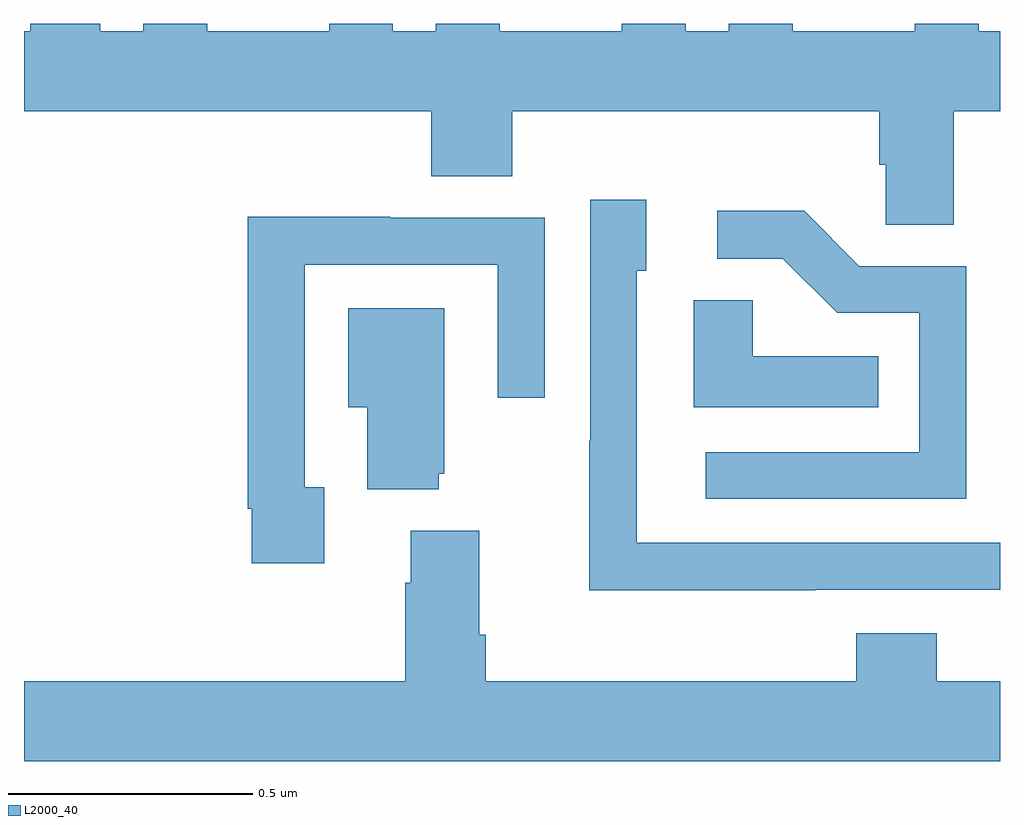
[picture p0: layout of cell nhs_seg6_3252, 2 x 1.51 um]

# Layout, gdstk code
import gdstk
lib = gdstk.Library(unit=1e-6, precision=1e-09)
def P(c, l, *ps):  # polygons
    for p in ps: c.add(gdstk.Polygon(p, *l))
L2000_40 = (2000, 40)

nhs_seg6_3252 = lib.new_cell('nhs_seg6_3252')
P(nhs_seg6_3252, L2000_40, [(155.905,963.32),(156,963.32),(156,963.484),(155.956,963.484),(155.956,963.5),(155.825,963.5),(155.825,963.484),(155.575,963.484),(155.575,963.5),(155.444,963.5),(155.444,963.484),(155.356,963.484),(155.356,963.5),(155.225,963.5),(155.225,963.484),(154.975,963.484),(154.975,963.5),(154.844,963.5),(154.844,963.484),(154.756,963.484),(154.756,963.5),(154.625,963.5),(154.625,963.484),(154.375,963.484),(154.375,963.5),(154.244,963.5),(154.244,963.484),(154.156,963.484),(154.156,963.5),(154.013,963.5),(154.013,963.484),(154,963.484),(154,963.32),(154.835,963.32),(154.835,963.187),(155,963.187),(155,963.32),(155.753,963.32),(155.753,963.211),(155.766,963.211),(155.766,963.088),(155.905,963.088)],
  [(155.621,962.34),(156,962.34),(156,962.436),(155.256,962.436),(155.256,962.994),(155.275,962.994),(155.275,963.139),(155.16,963.139),(155.16,962.645),(155.158,962.645),(155.158,962.339),(155.621,962.339)],
  [(155.931,963.003),(155.712,963.003),(155.599,963.116),(155.421,963.116),(155.421,963.018),(155.555,963.018),(155.666,962.907),(155.835,962.907),(155.835,962.622),(155.397,962.622),(155.397,962.526),(155.931,962.526)],
  [(154.615,962.55),(154.575,962.55),(154.575,963.006),(154.971,963.006),(154.971,962.733),(155.067,962.733),(155.067,963.102),(154.751,963.102),(154.751,963.104),(154.459,963.104),(154.459,962.506),(154.467,962.506),(154.467,962.394),(154.615,962.394)],
  [(155.75,962.818),(155.493,962.818),(155.493,962.933),(155.372,962.933),(155.372,962.714),(155.75,962.714)],
  [(154.85,962.577),(154.861,962.577),(154.861,962.917),(154.664,962.917),(154.664,962.714),(154.703,962.714),(154.703,962.546),(154.85,962.546)],
  [(156,962.152),(155.87,962.152),(155.87,962.251),(155.705,962.251),(155.705,962.152),(154.946,962.152),(154.946,962.248),(154.933,962.248),(154.933,962.461),(154.793,962.461),(154.793,962.354),(154.781,962.354),(154.781,962.152),(154,962.152),(154,961.988),(156,961.988)])

lib.write_gds('nhs_seg6_3252.gds')
